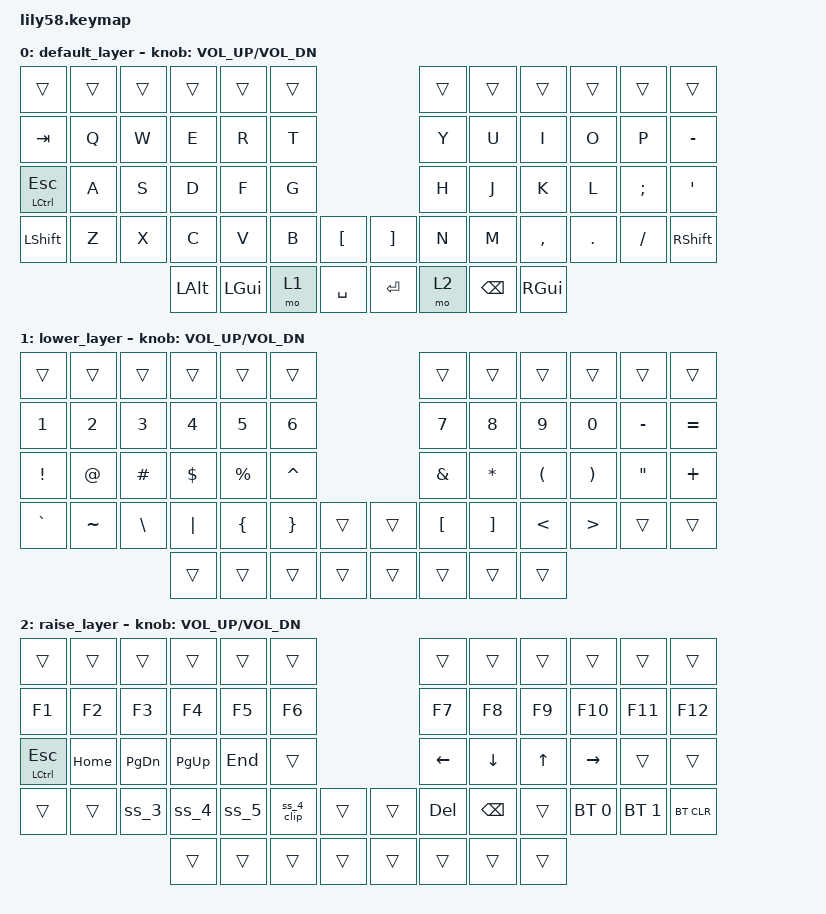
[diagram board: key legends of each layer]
/*
 * Copyright (c) 2020 The ZMK Contributors
 *
 * SPDX-License-Identifier: MIT
 */

#include <behaviors.dtsi>
#include <dt-bindings/zmk/bt.h>
#include <dt-bindings/zmk/keys.h>

/ {
    macros {
        ss_3: ss_3 {
            compatible = "zmk,behavior-macro";
            label = "SS_3";
            #binding-cells = <0>;
            wait-ms = <30>;
            tap-ms = <30>;
            bindings =
                <&macro_press>,
                <&kp LGUI &kp LSHFT>,
                <&macro_tap>,
                <&kp N3>,
                <&macro_release>,
                <&kp LSHFT &kp LGUI>;
        };

        ss_4: ss_4 {
            compatible = "zmk,behavior-macro";
            label = "SS_4";
            #binding-cells = <0>;
            wait-ms = <30>;
            tap-ms = <30>;
            bindings =
                <&macro_press>,
                <&kp LGUI &kp LSHFT>,
                <&macro_tap>,
                <&kp N4>,
                <&macro_release>,
                <&kp LSHFT &kp LGUI>;
        };

        ss_5: ss_5 {
            compatible = "zmk,behavior-macro";
            label = "SS_5";
            #binding-cells = <0>;
            wait-ms = <30>;
            tap-ms = <30>;
            bindings =
                <&macro_press>,
                <&kp LGUI &kp LSHFT>,
                <&macro_tap>,
                <&kp N5>,
                <&macro_release>,
                <&kp LSHFT &kp LGUI>;
        };

        ss_4_clip: ss_4_clip {
            compatible = "zmk,behavior-macro";
            label = "SS_4_CLIP";
            #binding-cells = <0>;
            wait-ms = <30>;
            tap-ms = <30>;
            bindings =
                <&macro_press>,
                <&kp LGUI &kp LCTRL &kp LSHFT>,
                <&macro_tap>,
                <&kp N4>,
                <&macro_release>,
                <&kp LSHFT &kp LCTRL &kp LGUI>;
        };
    };

    keymap {
        compatible = "zmk,keymap";

        default_layer {
            bindings = <
&trans         &trans  &trans  &trans    &trans    &trans                         &trans  &trans    &trans     &trans   &trans    &trans
&kp TAB        &kp Q   &kp W   &kp E     &kp R     &kp T                          &kp Y   &kp U     &kp I      &kp O    &kp P     &kp MINUS
&mt LCTRL ESC  &kp A   &kp S   &kp D     &kp F     &kp G                          &kp H   &kp J     &kp K      &kp L    &kp SEMI  &kp SQT
&kp LSHFT      &kp Z   &kp X   &kp C     &kp V     &kp B   &kp LBKT     &kp RBKT  &kp N   &kp M     &kp COMMA  &kp DOT  &kp FSLH  &kp RSHFT
                               &kp LALT  &kp LGUI  &mo 1   &kp SPACE    &kp RET   &mo 2   &kp BSPC  &kp RGUI
            >;

            sensor-bindings = <&inc_dec_kp C_VOL_UP C_VOL_DN>;
        };

        lower_layer {
            bindings = <
&trans     &trans     &trans    &trans      &trans     &trans                       &trans    &trans     &trans    &trans    &trans     &trans
&kp N1     &kp N2     &kp N3    &kp N4      &kp N5     &kp N6                       &kp N7    &kp N8     &kp N9    &kp N0    &kp MINUS  &kp EQUAL
&kp EXCL   &kp AT     &kp HASH  &kp DOLLAR  &kp PRCNT  &kp CARET                    &kp AMPS  &kp ASTRK  &kp LPAR  &kp RPAR  &kp DQT    &kp PLUS
&kp GRAVE  &kp TILDE  &kp BSLH  &kp PIPE    &kp LBRC   &kp RBRC   &trans    &trans  &kp LBKT  &kp RBKT   &kp LT    &kp GT    &trans     &trans
                                &trans      &trans     &trans     &trans    &trans  &trans    &trans     &trans
            >;

            sensor-bindings = <&inc_dec_kp C_VOL_UP C_VOL_DN>;
        };

        raise_layer {
            bindings = <
&trans         &trans    &trans     &trans     &trans   &trans                        &trans    &trans    &trans  &trans        &trans        &trans
&kp F1         &kp F2    &kp F3     &kp F4     &kp F5   &kp F6                        &kp F7    &kp F8    &kp F9  &kp F10       &kp F11       &kp F12
&mt LCTRL ESC  &kp HOME  &kp PG_DN  &kp PG_UP  &kp END  &trans                        &kp LEFT  &kp DOWN  &kp UP  &kp RIGHT     &trans        &trans
&trans         &trans    &ss_3      &ss_4      &ss_5    &ss_4_clip  &trans    &trans  &kp DEL   &kp BSPC  &trans  &bt BT_SEL 0  &bt BT_SEL 1  &bt BT_CLR
                                    &trans     &trans   &trans      &trans    &trans  &trans    &trans    &trans
            >;

            sensor-bindings = <&inc_dec_kp C_VOL_UP C_VOL_DN>;
        };
    };
};
